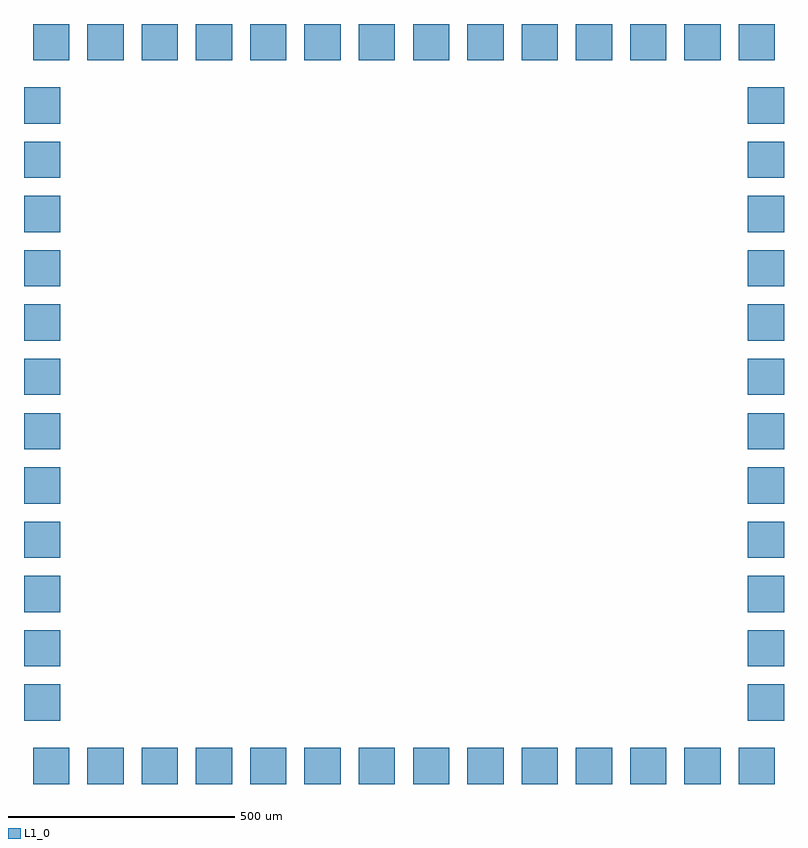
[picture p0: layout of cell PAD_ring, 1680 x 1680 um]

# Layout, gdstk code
import gdstk
lib = gdstk.Library(unit=1e-6, precision=1e-09)
def R(c, l, rs):  # rectangles x0, y0, x1, y1
    for r in rs: c.add(gdstk.rectangle(r[:2], r[2:], *l))
def A(c, l, x, y, w, h, nx, ny, dx, dy):  # array of equal rectangles
    R(c, l, [(x+i*dx, y+j*dy, x+i*dx+w, y+j*dy+h) for i in range(nx) for j in range(ny)])
L1_0 = (1, 0)

pad_ring = lib.new_cell('PAD_ring')
A(pad_ring, L1_0, -820, -840, 80, 80, 14, 2, 120, 1600)
A(pad_ring, L1_0, -840, -700, 80, 80, 1, 12, 0, 120)
A(pad_ring, L1_0, 760, -700, 80, 80, 1, 12, 0, 120)

lib.write_gds('PAD_ring.gds')
